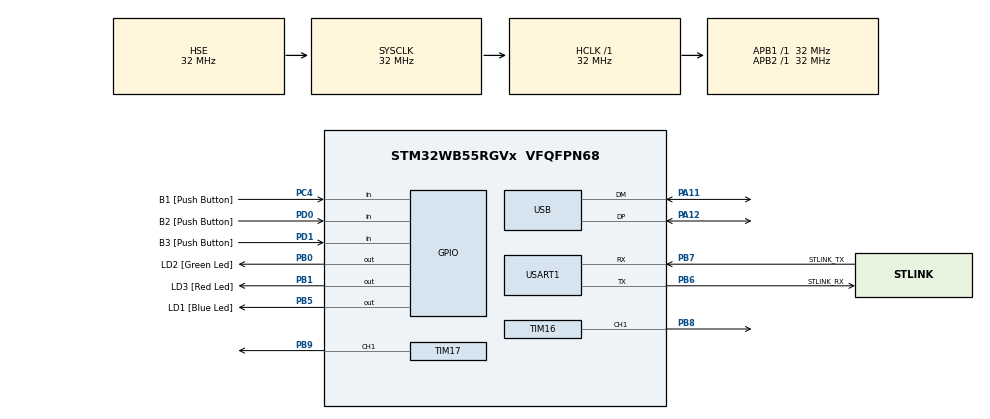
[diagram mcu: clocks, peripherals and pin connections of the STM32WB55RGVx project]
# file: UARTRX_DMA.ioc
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Dma.Request0=USART1_RX
Dma.USART1_RX.0.Direction=DMA_PERIPH_TO_MEMORY
Dma.USART1_RX.0.EventEnable=DISABLE
Dma.USART1_RX.0.Instance=DMA1_Channel1
Dma.USART1_RX.0.MemDataAlignment=DMA_MDATAALIGN_BYTE
Dma.USART1_RX.0.MemInc=DMA_MINC_ENABLE
Dma.USART1_RX.0.Mode=DMA_CIRCULAR
Dma.USART1_RX.0.PeriphDataAlignment=DMA_PDATAALIGN_BYTE
Dma.USART1_RX.0.PeriphInc=DMA_PINC_DISABLE
Dma.USART1_RX.0.Polarity=HAL_DMAMUX_REQ_GEN_RISING
Dma.USART1_RX.0.Priority=DMA_PRIORITY_LOW
Dma.USART1_RX.0.RequestNumber=1
Dma.USART1_RX.0.SignalID=NONE
Dma.USART1_RX.0.SyncEnable=DISABLE
Dma.USART1_RX.0.SyncPolarity=HAL_DMAMUX_SYNC_NO_EVENT
Dma.USART1_RX.0.SyncRequestNumber=1
Dma.USART1_RX.0.SyncSignalID=NONE
Mcu.Family=STM32WB
Mcu.Name=STM32WB55RGVx
Mcu.Package=VFQFPN68
NVIC.DMA1_Channel1_IRQn=true\:0\:0\:false\:false\:true\:false\:true
NVIC.PriorityGroup=NVIC_PRIORITYGROUP_4
NVIC.TIM1_TRG_COM_TIM17_IRQn=true\:0\:0\:false\:false\:true\:true\:true
NVIC.TIM1_UP_TIM16_IRQn=true\:0\:0\:false\:false\:true\:true\:true
NVIC.USART1_IRQn=true\:0\:0\:false\:false\:true\:true\:true
OSC_IN.Mode=HSE-External-Oscillator
OSC_IN.Signal=RCC_OSC_IN
OSC_OUT.Mode=HSE-External-Oscillator
OSC_OUT.Signal=RCC_OSC_OUT
PA11.Mode=Device
PA11.Signal=USB_DM
PA12.Mode=Device
PA12.Signal=USB_DP
PA13.GPIO_Label=JTMS
PA13.Mode=Trace_Asynchronous_SW
PA13.Signal=SYS_JTMS-SWDIO
PA14.GPIO_Label=JTCK
PA14.Mode=Trace_Asynchronous_SW
PA14.Signal=SYS_JTCK-SWCLK
PB0.GPIO_Label=LD2 [Green Led]
PB0.Signal=GPIO_Output
PB1.GPIO_Label=LD3 [Red Led]
PB1.Signal=GPIO_Output
PB3.GPIO_Label=JTDO
PB3.Mode=Trace_Asynchronous_SW
PB3.Signal=SYS_JTDO-SWO
PB5.GPIO_Label=LD1 [Blue Led]
PB5.Signal=GPIO_Output
PB6.GPIO_Label=STLINK_RX
PB6.GPIO_PuPd=GPIO_PULLUP
PB6.Mode=Asynchronous
PB6.Signal=USART1_TX
PB7.GPIO_Label=STLINK_TX
PB7.GPIO_PuPd=GPIO_PULLUP
PB7.Mode=Asynchronous
PB7.Signal=USART1_RX
PB8.Signal=S_TIM16_CH1
PB9.Signal=S_TIM17_CH1
PC13.Mode=SYS_WakeUp1
PC13.Signal=SYS_WKUP2
PC14-OSC32_IN.Mode=LSE-External-Oscillator
PC14-OSC32_IN.Signal=RCC_OSC32_IN
PC15-OSC32_OUT.Mode=LSE-External-Oscillator
PC15-OSC32_OUT.Signal=RCC_OSC32_OUT
PC4.GPIO_Label=B1 [Push Button]
PC4.Signal=GPIO_Input
PD0.GPIO_Label=B2 [Push Button]
PD0.Signal=GPIO_Input
PD1.GPIO_Label=B3 [Push Button]
PD1.Signal=GPIO_Input
ProjectManager.HeapSize=0x200
ProjectManager.StackSize=0x400
ProjectManager.TargetToolchain=STM32CubeIDE
RCC.ADCFreq_Value=48000000
RCC.AHBFreq_Value=32000000
RCC.APB1Freq_Value=32000000
RCC.APB1TimFreq_Value=32000000
RCC.APB2Freq_Value=32000000
RCC.APB2TimFreq_Value=32000000
RCC.APB3Freq_Value=16000000
RCC.CortexFreq_Value=32000000
RCC.HCLKFreq_Value=32000000
RCC.HSE_VALUE=32000000
RCC.HSI48_VALUE=48000000
RCC.HSI_VALUE=16000000
RCC.PLLN=32
RCC.PLLSAI1N=24
RCC.SMPSCLockSelectionVirtual=RCC_SMPSCLKSOURCE_HSI
RCC.SMPSCLockSelectionVirtualVirtual=RCC_SMPSCLKSOURCE_HSI
RCC.SMPSDivider=1
RCC.SYSCLKFreq_VALUE=32000000
RCC.SYSCLKSource=RCC_SYSCLKSOURCE_HSE
RCC.USBFreq_Value=48000000
RCC.VCOOutputFreq_Value=128000000
SH.S_TIM16_CH1.0=TIM16_CH1,PWM Generation1 CH1
SH.S_TIM17_CH1.0=TIM17_CH1,PWM Generation1 CH1
TIM16.Channel=TIM_CHANNEL_1
TIM16.Period=3200 -1
TIM16.Prescaler=0
TIM16.Pulse=1600 -1
TIM17.Channel=TIM_CHANNEL_1
TIM17.Period=3200 - 1
TIM17.Pulse=1600 - 1
USART1.VirtualMode-Asynchronous=VM_ASYNC
USART1.WordLength=WORDLENGTH_8B
VP_TIM16_VS_ClockSourceINT.Mode=Enable_Timer
VP_TIM17_VS_ClockSourceINT.Mode=Enable_Timer
board=NUCLEO-WB55RG

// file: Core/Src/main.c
/* USER CODE BEGIN Header */
/**
  ******************************************************************************
  * @file           : main.c
  * @brief          : Main program body
  ******************************************************************************
  * @attention
  *
  * <h2><center>&copy; Copyright (c) 2020 STMicroelectronics.
  * All rights reserved.</center></h2>
  *
  * This software component is licensed by ST under BSD 3-Clause license,
  * the "License"; You may not use this file except in compliance with the
  * License. You may obtain a copy of the License at:
  *                        opensource.org/licenses/BSD-3-Clause
  *
  ******************************************************************************
  */
/* USER CODE END Header */
#include "main.h"
#include "dma.h"
#include "tim.h"
#include "usart.h"
#include "usb.h"
#include "gpio.h"

/* USER CODE BEGIN PD */
#define PWM_MAX				100
#define PWM_MIN				0

#ifdef __GNUC__
  /* With GCC/RAISONANCE, small printf (option LD Linker->Libraries->Small printf
     set to 'Yes') calls __io_putchar() */
  #define PUTCHAR_PROTOTYPE int __io_putchar(int ch)
#else
  #define PUTCHAR_PROTOTYPE int fputc(int ch, FILE *f)
#endif /* __GNUC__ */

#define CONFIG_U			1
#define CONFIG_I			2
/**
  * @brief  Retargets the C library printf function to the USART.
  * @param  None
  * @retval None
  */
PUTCHAR_PROTOTYPE
{
    /* Place your implementation of fputc here */
    /* e.g. write a character to the USART */
    HAL_UART_Transmit(&huart1, (uint8_t *)&ch, 1, 100);

    return ch;
}
/* USER CODE END PD */

/* USER CODE BEGIN PV */
extern DMA_HandleTypeDef hdma_usart1_rx;
extern UART_HandleTypeDef huart1;

bool g_dmaoverflow=false;
uint8_t g_txbuffer[TXBUFFER_SIZE]={0};
uint8_t g_txbuffer_len=0;
uint8_t g_rxdmabuffer[RXDMABUFFER_SIZE]={0};
uint8_t g_rxbuffer[RXBUFFER_SIZE]={0};
uint8_t g_pwm_data=0;
uint8_t	g_configdata=0;
volatile bool g_newdata=false;
/* USER CODE END PV */

void SystemClock_Config(void);
/* USER CODE BEGIN PFP */
void UART_RTOInit(uint16_t ui16timeout);
uint8_t ConvertData(uint8_t* buff);
/* USER CODE END PFP */

int main(void)
{

  /* MCU Configuration--------------------------------------------------------*/

  /* Reset of all peripherals, Initializes the Flash interface and the Systick. */
  HAL_Init();

  /* Configure the system clock */
  SystemClock_Config();

  /* Initialize all configured peripherals */
  MX_GPIO_Init();
  MX_DMA_Init();
  MX_USART1_UART_Init();
  MX_USB_PCD_Init();
  MX_TIM16_Init();
  MX_TIM17_Init();
  /* USER CODE BEGIN 2 */
  #if UART_RTO_IT
  uint16_t uart_timeout = 1;
  UART_RTOInit(uart_timeout);
  #endif

  #if UART_IDLE_IT
  //Enable UART IDLE interrupt
  __HAL_UART_ENABLE_IT(&huart1,UART_IT_IDLE);
  #endif

  HAL_TIM_PWM_Start(&htim16, TIM_CHANNEL_1);
  HAL_TIM_Base_Start_IT(&htim16);
  HAL_TIM_PWM_Start(&htim17, TIM_CHANNEL_1);
  HAL_TIM_Base_Start_IT(&htim17);
  //Starting message
  g_txbuffer_len = sprintf((char*)g_txbuffer, "Test started\n");
  HAL_UART_Transmit(&huart1, g_txbuffer, g_txbuffer_len, 10);

  HAL_UART_Receive_DMA(&huart1, g_rxdmabuffer, RXDMABUFFER_SIZE);

  /* USER CODE END 2 */

  /* Infinite loop */
  /* USER CODE BEGIN WHILE */
  while (1)
  {
	  if(g_newdata == true)	//Set when RTO/RX IDLE event occurred AND there are new data in DMA buffer
	  {
		  if(strstr((char*)g_rxbuffer, "\r\n") != NULL ) /* received new frame */
		  {
			  #if ECHO_RECVDATA
			  printf("Echo received data: ");
			  HAL_UART_Transmit(&huart1, g_rxbuffer, strlen((char*)g_rxbuffer), 10); /* Echo data */
			  #endif /*End of ECHO_RECVDATA*/
			  g_pwm_data = ConvertData(g_rxbuffer);
			  if(g_configdata == CONFIG_U)	/* Configure PWM U */
			  {
				  if( (g_pwm_data > PWM_MIN) && (g_pwm_data <= PWM_MAX))
				  {
					  uint16_t ui16reload = ((g_pwm_data * 3200) / 100) -1;
					  __HAL_TIM_SET_COMPARE(&htim16, TIM_CHANNEL_1, ui16reload);
					  printf("Configure U PWM: ");
					  printf("Duty %d \n", g_pwm_data);
				  }
				  else if (g_pwm_data == 0)
				  {
					  printf("Configure U PWM: Duty 0\n");
					  __HAL_TIM_SET_COMPARE(&htim16, TIM_CHANNEL_1, 0);
				  }
				  else
				  {
					  printf("Cuoc song ma\n");
				  }
			  }
			  else if (g_configdata == CONFIG_I) 					/* Configure PWM I */
			  {
				  if( (g_pwm_data > PWM_MIN) && (g_pwm_data <= PWM_MAX))
				  {
					  uint16_t ui16reload = ((g_pwm_data * 3200) / 100) -1;
					  __HAL_TIM_SET_COMPARE(&htim17, TIM_CHANNEL_1, ui16reload);
				  	  printf("Configure I PWM: ");
					  printf("Duty %d \n", g_pwm_data);
				  }
				  else if (g_pwm_data == 0)
				  {
					  printf("Configure I PWM: Duty 0\n");
					  __HAL_TIM_SET_COMPARE(&htim17, TIM_CHANNEL_1, 0);
				  }
				  else
				  {
					  printf("Cuoc song ma\n");
				  }
			  }
			  else printf("Doi ma \n");
		  }
		  memset(g_rxbuffer, 0, strlen((char*)g_rxbuffer));
		  g_newdata=false;
	  }

    /* USER CODE END WHILE */

  }
}

void SystemClock_Config(void)
{
  RCC_OscInitTypeDef RCC_OscInitStruct = {0};
  RCC_ClkInitTypeDef RCC_ClkInitStruct = {0};
  RCC_PeriphCLKInitTypeDef PeriphClkInitStruct = {0};

  /** Macro to configure the PLL multiplication factor
  */
  __HAL_RCC_PLL_PLLM_CONFIG(RCC_PLLM_DIV1);
  /** Macro to configure the PLL clock source
  */
  __HAL_RCC_PLL_PLLSOURCE_CONFIG(RCC_PLLSOURCE_MSI);
  /** Configure LSE Drive Capability
  */
  HAL_PWR_EnableBkUpAccess();
  __HAL_RCC_LSEDRIVE_CONFIG(RCC_LSEDRIVE_LOW);
  /** Configure the main internal regulator output voltage
  */
  __HAL_PWR_VOLTAGESCALING_CONFIG(PWR_REGULATOR_VOLTAGE_SCALE1);
  /** Initializes the RCC Oscillators according to the specified parameters
  * in the RCC_OscInitTypeDef structure.
  */
  RCC_OscInitStruct.OscillatorType = RCC_OSCILLATORTYPE_HSI|RCC_OSCILLATORTYPE_HSE
                              |RCC_OSCILLATORTYPE_LSE|RCC_OSCILLATORTYPE_MSI;
  RCC_OscInitStruct.HSEState = RCC_HSE_ON;
  RCC_OscInitStruct.LSEState = RCC_LSE_ON;
  RCC_OscInitStruct.HSIState = RCC_HSI_ON;
  RCC_OscInitStruct.MSIState = RCC_MSI_ON;
  RCC_OscInitStruct.HSICalibrationValue = RCC_HSICALIBRATION_DEFAULT;
  RCC_OscInitStruct.MSICalibrationValue = RCC_MSICALIBRATION_DEFAULT;
  RCC_OscInitStruct.MSIClockRange = RCC_MSIRANGE_6;
  RCC_OscInitStruct.PLL.PLLState = RCC_PLL_NONE;
  if (HAL_RCC_OscConfig(&RCC_OscInitStruct) != HAL_OK)
  {
    Error_Handler();
  }
  /** Configure the SYSCLKSource, HCLK, PCLK1 and PCLK2 clocks dividers
  */
  RCC_ClkInitStruct.ClockType = RCC_CLOCKTYPE_HCLK4|RCC_CLOCKTYPE_HCLK2
                              |RCC_CLOCKTYPE_HCLK|RCC_CLOCKTYPE_SYSCLK
                              |RCC_CLOCKTYPE_PCLK1|RCC_CLOCKTYPE_PCLK2;
  RCC_ClkInitStruct.SYSCLKSource = RCC_SYSCLKSOURCE_HSE;
  RCC_ClkInitStruct.AHBCLKDivider = RCC_SYSCLK_DIV1;
  RCC_ClkInitStruct.APB1CLKDivider = RCC_HCLK_DIV1;
  RCC_ClkInitStruct.APB2CLKDivider = RCC_HCLK_DIV1;
  RCC_ClkInitStruct.AHBCLK2Divider = RCC_SYSCLK_DIV1;
  RCC_ClkInitStruct.AHBCLK4Divider = RCC_SYSCLK_DIV1;

  if (HAL_RCC_ClockConfig(&RCC_ClkInitStruct, FLASH_LATENCY_1) != HAL_OK)
  {
    Error_Handler();
  }
  /** Initializes the peripherals clocks
  */
  PeriphClkInitStruct.PeriphClockSelection = RCC_PERIPHCLK_SMPS|RCC_PERIPHCLK_USART1
                              |RCC_PERIPHCLK_USB;
  PeriphClkInitStruct.PLLSAI1.PLLN = 24;
  PeriphClkInitStruct.PLLSAI1.PLLP = RCC_PLLP_DIV2;
  PeriphClkInitStruct.PLLSAI1.PLLQ = RCC_PLLQ_DIV2;
  PeriphClkInitStruct.PLLSAI1.PLLR = RCC_PLLR_DIV2;
  PeriphClkInitStruct.PLLSAI1.PLLSAI1ClockOut = RCC_PLLSAI1_USBCLK;
  PeriphClkInitStruct.Usart1ClockSelection = RCC_USART1CLKSOURCE_PCLK2;
  PeriphClkInitStruct.UsbClockSelection = RCC_USBCLKSOURCE_PLLSAI1;
  PeriphClkInitStruct.SmpsClockSelection = RCC_SMPSCLKSOURCE_HSI;
  PeriphClkInitStruct.SmpsDivSelection = RCC_SMPSCLKDIV_RANGE0;
  if (HAL_RCCEx_PeriphCLKConfig(&PeriphClkInitStruct) != HAL_OK)
  {
    Error_Handler();
  }
  /** Enable MSI Auto calibration
  */
  HAL_RCCEx_EnableMSIPLLMode();
}

/* USER CODE BEGIN 4 */

/* ----------Convert_2Numb(char char_in)-----------------
 * Operating: Convert character to number
 * Input:  character want to convert to number
 * Output: corresponding number
 * '0' - '9' -> 0 - 9
 * 'A' - 'F' -> 0x0A - 0x0F
-------------------------------------------------------*/
uint8_t  Convert_2Numb(char char_in){
    uint8_t numb_out;
    if(char_in<'A')  numb_out=char_in-0x30; //'0-9' return 0-9
    else             numb_out=char_in-55;   //'A'-'F' return 0x0A-0x0F
    return numb_out;
}

uint8_t ConvertData(uint8_t* buff)
{
	uint8_t digit,tenth,hunderd;
	uint8_t ret=255;
	if		( (buff[0] == 'u') || (buff[0] == 'U') )	g_configdata = CONFIG_U;
	else if ( (buff[0] == 'i') || (buff[0] == 'I') )	g_configdata = CONFIG_I;
	else {g_configdata = 0; return ret;}
	hunderd = Convert_2Numb(buff[1]);
	if(hunderd > 1) return ret;								/* Invalid data */
	tenth = Convert_2Numb(buff[2]);
	digit  = Convert_2Numb(buff[3]);
	ret = hunderd*100 +tenth*10 + digit;
	return ret;
}

void UART_RTOInit(uint16_t ui16timeout)
{
	HAL_UART_ReceiverTimeout_Config(&huart1, (huart1.Init.BaudRate/1000)*ui16timeout); //In ms
	HAL_UART_EnableReceiverTimeout(&huart1);
	__HAL_UART_ENABLE_IT(&huart1,UART_IT_RTO);
}

void HAL_UART_RxCpltCallback(UART_HandleTypeDef *huart)
{

	if(huart == &huart1)
	{
		if(g_dmaoverflow == false)  g_dmaoverflow = true;
		else
		{
			g_txbuffer_len = sprintf((char*)g_txbuffer, "Overflow DMA\n");
			HAL_UART_Transmit(&huart1, g_txbuffer, g_txbuffer_len, 10);
		}
	}
}

void UART_GetData(uint8_t* pui8buffer)
{
	static uint32_t old_pos=0;
	uint32_t pos=0;
	/* Calculate current position in buffer */
	pos = RXDMABUFFER_SIZE - LL_DMA_GetDataLength(DMA1, LL_DMA_CHANNEL_1);
	if (pos != old_pos)		/* Check change in received data */
	{
		if (pos > old_pos)	/* Current position is over previous one */
		{
			/* We are in "linear" mode */
			/* Process data directly by subtracting "pointers" */
			memcpy(pui8buffer, &g_rxdmabuffer[old_pos], pos - old_pos);
		}
		else
		{
			/* We are in "overflow" mode */
			/* First process data to the end of buffer */
			memcpy(pui8buffer, &g_rxdmabuffer[old_pos], RXDMABUFFER_SIZE - old_pos);
			/* Check and continue with beginning of buffer */
			if (pos > 0)
			{
				memcpy((pui8buffer+(RXDMABUFFER_SIZE - old_pos)), &g_rxdmabuffer[0], pos);
			}
		}
		g_newdata = true;
	}
	old_pos = pos;	/* Save current position as old */
	g_dmaoverflow = false;	/* Make sure that data never overflow twice */
}
/* USER CODE END 4 */

void Error_Handler(void)
{
}

/************************ (C) COPYRIGHT STMicroelectronics *****END OF FILE****/
